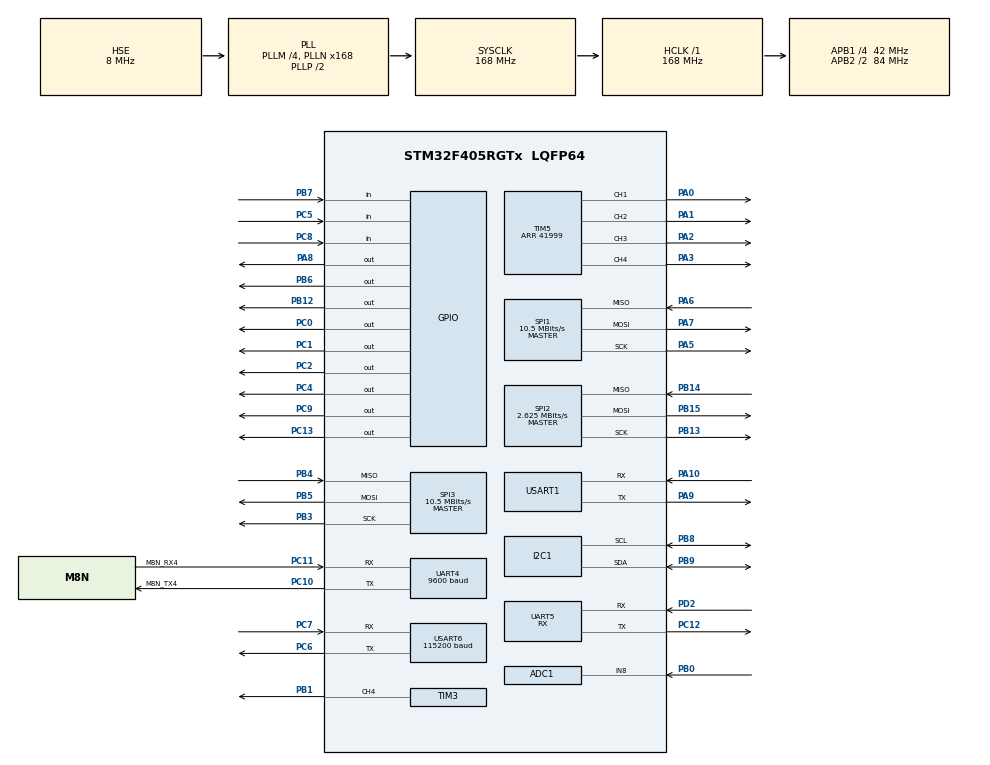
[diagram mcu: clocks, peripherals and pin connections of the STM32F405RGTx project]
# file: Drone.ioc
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ADC1.Channel-0\#ChannelRegularConversion=ADC_CHANNEL_8
ADC1.ClockPrescaler=ADC_CLOCK_SYNC_PCLK_DIV8
ADC1.ContinuousConvMode=ENABLE
ADC1.DMAContinuousRequests=ENABLE
ADC1.NbrOfConversionFlag=1
ADC1.Rank-0\#ChannelRegularConversion=1
ADC1.SamplingTime-0\#ChannelRegularConversion=ADC_SAMPLETIME_480CYCLES
ADC1.master=1
Dma.ADC1.0.Direction=DMA_PERIPH_TO_MEMORY
Dma.ADC1.0.FIFOMode=DMA_FIFOMODE_DISABLE
Dma.ADC1.0.Instance=DMA2_Stream0
Dma.ADC1.0.MemDataAlignment=DMA_MDATAALIGN_HALFWORD
Dma.ADC1.0.MemInc=DMA_MINC_DISABLE
Dma.ADC1.0.Mode=DMA_CIRCULAR
Dma.ADC1.0.PeriphDataAlignment=DMA_PDATAALIGN_HALFWORD
Dma.ADC1.0.PeriphInc=DMA_PINC_DISABLE
Dma.ADC1.0.Priority=DMA_PRIORITY_LOW
Dma.Request0=ADC1
I2C1.I2C_Mode=I2C_Fast
Mcu.Family=STM32F4
Mcu.Name=STM32F405RGTx
Mcu.Package=LQFP64
NVIC.DMA2_Stream0_IRQn=true\:0\:0\:false\:false\:true\:false\:true\:true
NVIC.PriorityGroup=NVIC_PRIORITYGROUP_4
NVIC.TIM7_IRQn=true\:0\:0\:false\:false\:true\:true\:true\:true
NVIC.UART4_IRQn=true\:0\:0\:false\:false\:true\:true\:true\:true
NVIC.UART5_IRQn=true\:0\:0\:false\:false\:true\:true\:true\:true
NVIC.USART1_IRQn=true\:0\:0\:false\:false\:true\:true\:true\:true
NVIC.USART6_IRQn=true\:0\:0\:false\:false\:true\:true\:true\:true
PA0-WKUP.Signal=S_TIM5_CH1
PA1.Signal=S_TIM5_CH2
PA10.Mode=Asynchronous
PA10.Signal=USART1_RX
PA2.Signal=S_TIM5_CH3
PA3.Signal=S_TIM5_CH4
PA5.Mode=Full_Duplex_Master
PA5.Signal=SPI1_SCK
PA6.Mode=Full_Duplex_Master
PA6.Signal=SPI1_MISO
PA7.Mode=Full_Duplex_Master
PA7.Signal=SPI1_MOSI
PA8.Signal=GPIO_Output
PA9.Mode=Asynchronous
PA9.Signal=USART1_TX
PB0.Signal=ADCx_IN8
PB1.Signal=S_TIM3_CH4
PB12.Signal=GPIO_Output
PB13.Mode=Full_Duplex_Master
PB13.Signal=SPI2_SCK
PB14.Mode=Full_Duplex_Master
PB14.Signal=SPI2_MISO
PB15.Mode=Full_Duplex_Master
PB15.Signal=SPI2_MOSI
PB3.Mode=Full_Duplex_Master
PB3.Signal=SPI3_SCK
PB4.Mode=Full_Duplex_Master
PB4.Signal=SPI3_MISO
PB5.Mode=Full_Duplex_Master
PB5.Signal=SPI3_MOSI
PB6.Signal=GPIO_Output
PB7.Signal=GPIO_Input
PB8.GPIO_Pu=GPIO_PULLUP
PB8.Mode=I2C
PB8.Signal=I2C1_SCL
PB9.GPIO_Pu=GPIO_PULLUP
PB9.Mode=I2C
PB9.Signal=I2C1_SDA
PC0.Signal=GPIO_Output
PC1.Signal=GPIO_Output
PC10.GPIO_Label=M8N_TX4
PC10.Mode=Asynchronous
PC10.Signal=UART4_TX
PC11.GPIO_Label=M8N_RX4
PC11.Mode=Asynchronous
PC11.Signal=UART4_RX
PC12.Mode=Asynchronous
PC12.Signal=UART5_TX
PC13-ANTI_TAMP.PinState=GPIO_PIN_SET
PC13-ANTI_TAMP.Signal=GPIO_Output
PC2.Signal=GPIO_Output
PC4.Signal=GPIO_Output
PC5.Signal=GPIO_Input
PC6.Mode=Asynchronous
PC6.Signal=USART6_TX
PC7.Mode=Asynchronous
PC7.Signal=USART6_RX
PC8.Signal=GPIO_Input
PC9.Signal=GPIO_Output
PD2.Mode=Asynchronous
PD2.Signal=UART5_RX
PH0-OSC_IN.Mode=HSE-External-Oscillator
PH0-OSC_IN.Signal=RCC_OSC_IN
PH1-OSC_OUT.Mode=HSE-External-Oscillator
PH1-OSC_OUT.Signal=RCC_OSC_OUT
ProjectManager.HeapSize=0x800
ProjectManager.StackSize=0x800
ProjectManager.TargetToolchain=STM32CubeIDE
RCC.48MHZClocksFreq_Value=84000000
RCC.AHBFreq_Value=168000000
RCC.APB1CLKDivider=RCC_HCLK_DIV4
RCC.APB1Freq_Value=42000000
RCC.APB1TimFreq_Value=84000000
RCC.APB2CLKDivider=RCC_HCLK_DIV2
RCC.APB2Freq_Value=84000000
RCC.APB2TimFreq_Value=168000000
RCC.CortexFreq_Value=168000000
RCC.HCLKFreq_Value=168000000
RCC.HSE_VALUE=8000000
RCC.HSI_VALUE=16000000
RCC.LSE_VALUE=32768
RCC.PLLM=4
RCC.PLLN=168
RCC.PLLSourceVirtual=RCC_PLLSOURCE_HSE
RCC.SYSCLKFreq_VALUE=168000000
RCC.SYSCLKSource=RCC_SYSCLKSOURCE_PLLCLK
RCC.VCOOutputFreq_Value=336000000
SH.ADCx_IN8.0=ADC1_IN8,IN8
SH.S_TIM3_CH4.0=TIM3_CH4,PWM Generation4 CH4
SH.S_TIM5_CH1.0=TIM5_CH1,PWM Generation1 CH1
SH.S_TIM5_CH2.0=TIM5_CH2,PWM Generation2 CH2
SH.S_TIM5_CH3.0=TIM5_CH3,PWM Generation3 CH3
SH.S_TIM5_CH4.0=TIM5_CH4,PWM Generation4 CH4
SPI1.BaudRatePrescaler=SPI_BAUDRATEPRESCALER_8
SPI1.CLKPhase=SPI_PHASE_2EDGE
SPI1.CLKPolarity=SPI_POLARITY_HIGH
SPI1.CalculateBaudRate=10.5 MBits/s
SPI1.Direction=SPI_DIRECTION_2LINES
SPI1.Mode=SPI_MODE_MASTER
SPI1.VirtualType=VM_MASTER
SPI2.BaudRatePrescaler=SPI_BAUDRATEPRESCALER_16
SPI2.CLKPhase=SPI_PHASE_2EDGE
SPI2.CLKPolarity=SPI_POLARITY_HIGH
SPI2.CalculateBaudRate=2.625 MBits/s
SPI2.Direction=SPI_DIRECTION_2LINES
SPI2.Mode=SPI_MODE_MASTER
SPI2.VirtualType=VM_MASTER
SPI3.BaudRatePrescaler=SPI_BAUDRATEPRESCALER_4
SPI3.CLKPhase=SPI_PHASE_2EDGE
SPI3.CLKPolarity=SPI_POLARITY_HIGH
SPI3.CalculateBaudRate=10.5 MBits/s
SPI3.Direction=SPI_DIRECTION_2LINES
SPI3.Mode=SPI_MODE_MASTER
SPI3.VirtualType=VM_MASTER
STMicroelectronics.X-CUBE-AI.10.2.0.ActivationBufferSizeList=2180
STMicroelectronics.X-CUBE-AI.10.2.0.ActivationBuffers=pool0
STMicroelectronics.X-CUBE-AI.10.2.0.ActivationNames=pool0
STMicroelectronics.X-CUBE-AI.10.2.0.ActivationSizes=AI_NETWORK_DATA_ACTIVATION_1_SIZE
STMicroelectronics.X-CUBE-AI.10.2.0.HeapSize=0x800
STMicroelectronics.X-CUBE-AI.10.2.0.InternalRamActivationBufferMaxSize=AI_NETWORK_DATA_ACTIVATIONS_SIZE
STMicroelectronics.X-CUBE-AI.10.2.0.LatestDirectoryUsed-7eb09439f97e806a12ad233b3ee658d2ae9b99b684ab08fe04baa4cf231a8537=C\:\\Users\\taejeong\\Desktop\\tfl
STMicroelectronics.X-CUBE-AI.10.2.0.MaximumNumberOfInputLayer=1
STMicroelectronics.X-CUBE-AI.10.2.0.MaximumNumberOfOutputLayer=1
STMicroelectronics.X-CUBE-AI.10.2.0.MaximumSizeOfInputLayer=1
STMicroelectronics.X-CUBE-AI.10.2.0.MaximumSizeOfOutputLayer=1
STMicroelectronics.X-CUBE-AI.10.2.0.ModelActualCompression-7eb09439f97e806a12ad233b3ee658d2ae9b99b684ab08fe04baa4cf231a8537=0.0
STMicroelectronics.X-CUBE-AI.10.2.0.ModelCompression-7eb09439f97e806a12ad233b3ee658d2ae9b99b684ab08fe04baa4cf231a8537=None
STMicroelectronics.X-CUBE-AI.10.2.0.ModelFlashOccupation-7eb09439f97e806a12ad233b3ee658d2ae9b99b684ab08fe04baa4cf231a8537=13520
STMicroelectronics.X-CUBE-AI.10.2.0.ModelHashList=7eb09439f97e806a12ad233b3ee658d2ae9b99b684ab08fe04baa4cf231a8537
STMicroelectronics.X-CUBE-AI.10.2.0.ModelKind-7eb09439f97e806a12ad233b3ee658d2ae9b99b684ab08fe04baa4cf231a8537=TFLITE
STMicroelectronics.X-CUBE-AI.10.2.0.ModelMacc-7eb09439f97e806a12ad233b3ee658d2ae9b99b684ab08fe04baa4cf231a8537=800
STMicroelectronics.X-CUBE-AI.10.2.0.ModelName-7eb09439f97e806a12ad233b3ee658d2ae9b99b684ab08fe04baa4cf231a8537=network
STMicroelectronics.X-CUBE-AI.10.2.0.ModelNameList=network
STMicroelectronics.X-CUBE-AI.10.2.0.ModelRamOccupation-7eb09439f97e806a12ad233b3ee658d2ae9b99b684ab08fe04baa4cf231a8537=2180
STMicroelectronics.X-CUBE-AI.10.2.0.ModelStructureFile-7eb09439f97e806a12ad233b3ee658d2ae9b99b684ab08fe04baa4cf231a8537=C\:\\Users\\taejeong\\Desktop\\tfl\\drone_gesture_model.tflite
STMicroelectronics.X-CUBE-AI.10.2.0.ModelType-7eb09439f97e806a12ad233b3ee658d2ae9b99b684ab08fe04baa4cf231a8537=STM32Cube.AI MCU runtime
STMicroelectronics.X-CUBE-AI.10.2.0.ReadyForCodeGeneration=true
STMicroelectronics.X-CUBE-AI.10.2.0.StackSize=0x800
STMicroelectronics.X-CUBE-AI.10.2.0.WorkingBufferStartAddrList=0xFFFFFFFF
STMicroelectronics.X-CUBE-AI.10.2.0.XAaCUBEAaAICcArtificialOoIntelligenceJjCore=true
STMicroelectronics.X-CUBE-AI.10.2.0.copyWeightToRam=false
STMicroelectronics.X-CUBE-AI.10.2.0.customLayerConfigEnabled=false
STMicroelectronics.X-CUBE-AI.10.2.0.noOnnxIoTranspose=false
STMicroelectronics.X-CUBE-AI.10.2.0.useInputAllocation=true
STMicroelectronics.X-CUBE-AI.10.2.0.useOutputAllocation=true
TIM3.AutoReloadPreload=TIM_AUTORELOAD_PRELOAD_ENABLE
TIM3.Channel-PWM\ Generation4\ CH4=TIM_CHANNEL_4
TIM3.OCFastMode_PWM-PWM\ Generation4\ CH4=TIM_OCFAST_ENABLE
TIM3.Period=20
TIM3.Prescaler=999
TIM3.Pulse-PWM\ Generation4\ CH4=10
TIM5.AutoReloadPreload=TIM_AUTORELOAD_PRELOAD_ENABLE
TIM5.Channel-PWM\ Generation1\ CH1=TIM_CHANNEL_1
TIM5.Channel-PWM\ Generation2\ CH2=TIM_CHANNEL_2
TIM5.Channel-PWM\ Generation3\ CH3=TIM_CHANNEL_3
TIM5.Channel-PWM\ Generation4\ CH4=TIM_CHANNEL_4
TIM5.OCFastMode_PWM-PWM\ Generation1\ CH1=TIM_OCFAST_ENABLE
TIM5.OCFastMode_PWM-PWM\ Generation2\ CH2=TIM_OCFAST_ENABLE
TIM5.OCFastMode_PWM-PWM\ Generation3\ CH3=TIM_OCFAST_ENABLE
TIM5.OCFastMode_PWM-PWM\ Generation4\ CH4=TIM_OCFAST_ENABLE
TIM5.Period=41999
TIM5.Pulse-PWM\ Generation1\ CH1=0
TIM5.Pulse-PWM\ Generation2\ CH2=0
TIM5.Pulse-PWM\ Generation3\ CH3=0
TIM7.AutoReloadPreload=TIM_AUTORELOAD_PRELOAD_ENABLE
TIM7.Period=1
TIM7.Prescaler=41999
UART4.BaudRate=9600
UART4.VirtualMode=Asynchronous
UART5.Mode=MODE_RX
UART5.VirtualMode=Asynchronous
USART1.VirtualMode=VM_ASYNC
USART6.BaudRate=115200
USART6.VirtualMode=VM_ASYNC
VP_STMicroelectronics.X-CUBE-AI_VS_ArtificialOoIntelligenceJjXAaCUBEAaAI_10.2.0.Mode=ArtificialOoIntelligenceJjXAaCUBEAaAI
VP_TIM3_VS_ClockSourceINT.Mode=Internal
VP_TIM5_VS_ClockSourceINT.Mode=Internal
VP_TIM7_VS_ClockSourceINT.Mode=Enable_Timer
board=custom

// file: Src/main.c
/* USER CODE BEGIN Header */
/**
  ******************************************************************************
  * @file           : main.c
  * @brief          : Main program body
  ******************************************************************************
  * @attention
  *
  * <h2><center>&copy; Copyright (c) 2019 STMicroelectronics.
  * All rights reserved.</center></h2>
  *
  * This software component is licensed by ST under BSD 3-Clause license,
  * the "License"; You may not use this file except in compliance with the
  * License. You may obtain a copy of the License at:
  *                        opensource.org/licenses/BSD-3-Clause
  *
  ******************************************************************************
  */
/* USER CODE END Header */
#include "main.h"
#include "adc.h"
#include "dma.h"
#include "i2c.h"
#include "spi.h"
#include "tim.h"
#include "usart.h"
#include "gpio.h"

/* USER CODE BEGIN Includes */
#include "bno080.h"
#include "quaternion.h"
#include "icm20602.h"
#include "lps22hh.h"
#include "M8N.h"
#include "FS-iA6B.h"
#include "AT24C08.h"
#include <string.h>
/* USER CODE END Includes */

/* USER CODE BEGIN PTD */
int _write(int file, char* p, int len)
{
	for(int i=0;i<len;i++)
	{
		while(!LL_USART_IsActiveFlag_TXE(USART6));
		LL_USART_TransmitData8(USART6, *(p+i));
	}
	return len;
}
/* USER CODE END PTD */

/* USER CODE BEGIN PV */
extern uint8_t uart6_rx_flag;
extern uint8_t uart6_rx_data;

extern uint8_t m8n_rx_buf[36];
extern uint8_t m8n_rx_cplt_flag;

extern uint8_t ibus_rx_buf[32];
extern uint8_t ibus_rx_cplt_flag;

extern uint8_t uart1_rx_data;

extern uint8_t tim7_20ms_flag;
extern uint8_t tim7_100ms_flag;
extern uint8_t tim7_1000ms_flag;

uint8_t telemetry_tx_buf[40];
uint8_t telemetry_rx_buf[20];
uint8_t telemetry_rx_cplt_flag;
float batVolt;

float roll_in_kp;
float roll_in_ki;
float roll_in_kd;

float roll_out_kp;
float roll_out_ki;
float roll_out_kd;

float pitch_in_kp;
float pitch_in_ki;
float pitch_in_kd;

float pitch_out_kp;
float pitch_out_ki;
float pitch_out_kd;

float yaw_heading_kp;
float yaw_heading_ki;
float yaw_heading_kd;

float yaw_rate_kp;
float yaw_rate_ki;
float yaw_rate_kd;

unsigned char failsafe_flag = 0;
unsigned char low_bat_flag = 0;
// 추론 결과 클래스 인덱스
#define GESTURE_CIRCLE  0
#define GESTURE_GOBACK  1
#define GESTURE_STOP    2

float ai_probabilities[3]; // AI가 판단한 각 동작별 확률 저장

//자쥴주행 변수
ai_handle network = AI_HANDLE_NULL;
ai_u8 activations[AI_NETWORK_DATA_ACTIVATIONS_SIZE];
ai_buffer *ai_input;
ai_buffer *ai_output;

enum {
    MODE_MANUAL = 0,
    MODE_AUTO_TAKEOFF,
    MODE_AUTO_WAYPOINT
} drone_auto_mode = MODE_MANUAL;

float target_alt = 0.0f;

/* USER CODE END PV */

void SystemClock_Config(void);
/* USER CODE BEGIN PFP */
int Is_iBus_Throttle_Min(void);
void ESC_Calibration(void);
int Is_iBus_Received(void);
void BNO080_Calibration(void);
void Encode_Msg_AHRS(unsigned char* telemetry_tx_buf);
void Encode_Msg_GPS(unsigned char* telemetry_tx_buf);
void Encode_Msg_PID_Gain(unsigned char* telemetry_tx_buf, unsigned char id, float p, float i, float d);
/* USER CODE END PFP */

int main(void)
{

  /* USER CODE BEGIN 1 */
	float q[4];
	float quatRadianAccuracy;
	unsigned char buf_read[16] = {1};
	unsigned char buf_write[16] = {1, 2, 3, 4, 5, 6, 7, 8, 9, 10, 11, 12, 13, 14, 15, 16};
	unsigned short adcVal;

	short gyro_x_offset = 1, gyro_y_offset = -23, gyro_z_offset = -3;
	unsigned char motor_arming_flag = 0;
	unsigned short iBus_SwA_Prev = 0;
	unsigned char iBus_rx_cnt = 0;
  /* USER CODE END 1 */

  /* MCU Configuration--------------------------------------------------------*/

  /* Reset of all peripherals, Initializes the Flash interface and the Systick. */
  HAL_Init();

  /* Configure the system clock */
  SystemClock_Config();

  /* Initialize all configured peripherals */
  MX_GPIO_Init();
  MX_DMA_Init();
  MX_TIM3_Init();
  MX_USART6_UART_Init();
  MX_SPI2_Init();
  MX_SPI1_Init();
  MX_SPI3_Init();
  MX_UART4_Init();
  MX_UART5_Init();
  MX_TIM5_Init();
  MX_I2C1_Init();
  MX_ADC1_Init();
  MX_USART1_UART_Init();
  MX_TIM7_Init();
  /* USER CODE BEGIN 2 */
  LL_TIM_EnableCounter(TIM3); //Buzzer

  LL_USART_EnableIT_RXNE(USART6); //Debug UART
  LL_USART_EnableIT_RXNE(UART4); //GPS
  LL_USART_EnableIT_RXNE(UART5); //FS-iA6B

  LL_TIM_EnableCounter(TIM5); //Motor PWM
  LL_TIM_CC_EnableChannel(TIM5, LL_TIM_CHANNEL_CH1);
  LL_TIM_CC_EnableChannel(TIM5, LL_TIM_CHANNEL_CH2);
  LL_TIM_CC_EnableChannel(TIM5, LL_TIM_CHANNEL_CH3);
  LL_TIM_CC_EnableChannel(TIM5, LL_TIM_CHANNEL_CH4);

  HAL_ADC_Start_DMA(&hadc1, &adcVal, 1); //Battery ADC

  HAL_UART_Receive_IT(&huart1, &uart1_rx_data, 1); //Telemetry

  LL_TIM_EnableCounter(TIM7); //10Hz, 50Hz, 1kHz loop
  LL_TIM_EnableIT_UPDATE(TIM7);

  TIM3->PSC = 1000;
  LL_TIM_CC_EnableChannel(TIM3, LL_TIM_CHANNEL_CH4);
  HAL_Delay(60);
  LL_TIM_CC_DisableChannel(TIM3, LL_TIM_CHANNEL_CH4);
  HAL_Delay(60);
  LL_TIM_CC_EnableChannel(TIM3, LL_TIM_CHANNEL_CH4);
  HAL_Delay(60);
  LL_TIM_CC_DisableChannel(TIM3, LL_TIM_CHANNEL_CH4);
  HAL_Delay(60);
  printf("Checking sensor connection..\n");

  if(BNO080_Initialization() != 0)
  {
	  LL_TIM_CC_EnableChannel(TIM3, LL_TIM_CHANNEL_CH4);

	  TIM3->PSC = 1000;
	  HAL_Delay(100);
	  TIM3->PSC = 1500;
	  HAL_Delay(100);
	  TIM3->PSC = 2000;
	  HAL_Delay(100);

	  LL_TIM_CC_DisableChannel(TIM3, LL_TIM_CHANNEL_CH4);

	  printf("\nBNO080 failed. Program shutting down...\n");
	  while(1)
	  {
		  LL_TIM_CC_DisableChannel(TIM3, LL_TIM_CHANNEL_CH4);
		  LL_GPIO_TogglePin(GPIOC, LL_GPIO_PIN_0);
		  HAL_Delay(200);
		  LL_TIM_CC_EnableChannel(TIM3, LL_TIM_CHANNEL_CH4);
		  LL_GPIO_TogglePin(GPIOC, LL_GPIO_PIN_0);
		  HAL_Delay(200);
	  }
  }
  BNO080_enableRotationVector(2500);

  if(ICM20602_Initialization() != 0)
  {
	  LL_TIM_CC_EnableChannel(TIM3, LL_TIM_CHANNEL_CH4);

	  TIM3->PSC = 1000;
	  HAL_Delay(100);
	  TIM3->PSC = 1500;
	  HAL_Delay(100);
	  TIM3->PSC = 2000;
	  HAL_Delay(100);

	  LL_TIM_CC_DisableChannel(TIM3, LL_TIM_CHANNEL_CH4);

	  printf("\nICM-20602 failed. Program shutting down...\n");
	  while(1)
	  {
		  LL_TIM_CC_DisableChannel(TIM3, LL_TIM_CHANNEL_CH4);
		  LL_GPIO_TogglePin(GPIOC, LL_GPIO_PIN_1);
		  HAL_Delay(200);
		  LL_TIM_CC_EnableChannel(TIM3, LL_TIM_CHANNEL_CH4);
		  LL_GPIO_TogglePin(GPIOC, LL_GPIO_PIN_1);
		  HAL_Delay(200);
	  }
  }

  if(LPS22HH_Initialization() != 0)
  {
	  LL_TIM_CC_EnableChannel(TIM3, LL_TIM_CHANNEL_CH4);

	  TIM3->PSC = 1000;
	  HAL_Delay(100);
	  TIM3->PSC = 1500;
	  HAL_Delay(100);
	  TIM3->PSC = 2000;
	  HAL_Delay(100);

	  LL_TIM_CC_DisableChannel(TIM3, LL_TIM_CHANNEL_CH4);

	  printf("\nLPS22HH failed. Program shutting down...\n");
	  while(1)
	  {
		  LL_TIM_CC_DisableChannel(TIM3, LL_TIM_CHANNEL_CH4);
		  LL_GPIO_TogglePin(GPIOC, LL_GPIO_PIN_2);
		  HAL_Delay(200);
		  LL_TIM_CC_EnableChannel(TIM3, LL_TIM_CHANNEL_CH4);
		  LL_GPIO_TogglePin(GPIOC, LL_GPIO_PIN_2);
		  HAL_Delay(200);
	  }
  }

  printf("All sensors OK!\n\n");

  M8N_Initialization();

  ICM20602_Writebyte(0x13, (gyro_x_offset*-2)>>8);
  ICM20602_Writebyte(0x14, (gyro_x_offset*-2));

  ICM20602_Writebyte(0x15, (gyro_y_offset*-2)>>8);
  ICM20602_Writebyte(0x16, (gyro_y_offset*-2));

  ICM20602_Writebyte(0x17, (gyro_z_offset*-2)>>8);
  ICM20602_Writebyte(0x18, (gyro_z_offset*-2));

  printf("Loading PID Gain...\n");

  if(EP_PIDGain_Read(0, &roll_in_kp, &roll_in_ki, &roll_in_kd) != 0 ||
		  EP_PIDGain_Read(1, &roll_out_kp, &roll_out_ki, &roll_out_kd) != 0 ||
		  EP_PIDGain_Read(2, &pitch_in_kp, &pitch_in_ki, &pitch_in_kd) != 0 ||
		  EP_PIDGain_Read(3, &pitch_out_kp, &pitch_out_ki, &pitch_out_kd) != 0 ||
		  EP_PIDGain_Read(4, &yaw_heading_kp, &yaw_heading_ki, &yaw_heading_kd) != 0 ||
		  EP_PIDGain_Read(5, &yaw_rate_kp, &yaw_rate_ki, &yaw_rate_kd) != 0)
  {
	  LL_TIM_CC_EnableChannel(TIM3, LL_TIM_CHANNEL_CH4);

	  TIM3->PSC = 1000;
	  HAL_Delay(100);
	  TIM3->PSC = 1500;
	  HAL_Delay(100);
	  TIM3->PSC = 2000;
	  HAL_Delay(100);

	  LL_TIM_CC_DisableChannel(TIM3, LL_TIM_CHANNEL_CH4);

	  HAL_Delay(500);
	  printf("\nCouldn't load PID gain.\n");
  }
  else
  {
	  Encode_Msg_PID_Gain(&telemetry_tx_buf[0], 0, roll_in_kp, roll_in_ki, roll_in_kd);
	  HAL_UART_Transmit(&huart1, &telemetry_tx_buf[0], 20, 10);
	  Encode_Msg_PID_Gain(&telemetry_tx_buf[0], 1, roll_out_kp, roll_out_ki, roll_out_kd);
	  HAL_UART_Transmit(&huart1, &telemetry_tx_buf[0], 20, 10);
	  Encode_Msg_PID_Gain(&telemetry_tx_buf[0], 2, pitch_in_kp, pitch_in_ki, pitch_in_kd);
	  HAL_UART_Transmit(&huart1, &telemetry_tx_buf[0], 20, 10);
	  Encode_Msg_PID_Gain(&telemetry_tx_buf[0], 3, pitch_out_kp, pitch_out_ki, pitch_out_kd);
	  HAL_UART_Transmit(&huart1, &telemetry_tx_buf[0], 20, 10);
	  Encode_Msg_PID_Gain(&telemetry_tx_buf[0], 4, yaw_heading_kp, yaw_heading_ki, yaw_heading_kd);
	  HAL_UART_Transmit(&huart1, &telemetry_tx_buf[0], 20, 10);
	  Encode_Msg_PID_Gain(&telemetry_tx_buf[0], 5, yaw_rate_kp, yaw_rate_ki, yaw_rate_kd);
	  HAL_UART_Transmit(&huart1, &telemetry_tx_buf[0], 20, 10);
	  printf("\nAll gains OK!\n\n");
  }

  while(Is_iBus_Received() == 0)
  {
	  LL_TIM_CC_EnableChannel(TIM3, LL_TIM_CHANNEL_CH4);

	  TIM3->PSC = 3000;
	  HAL_Delay(200);
	  LL_TIM_CC_DisableChannel(TIM3, LL_TIM_CHANNEL_CH4);
	  HAL_Delay(200);
  }

  if(iBus.SwC == 2000)
  {
	  LL_TIM_CC_EnableChannel(TIM3, LL_TIM_CHANNEL_CH4);

	  TIM3->PSC = 1500;
	  HAL_Delay(200);
	  TIM3->PSC = 2000;
	  HAL_Delay(200);
	  TIM3->PSC = 1500;
	  HAL_Delay(200);
	  TIM3->PSC = 2000;
	  HAL_Delay(200);
	  LL_TIM_CC_DisableChannel(TIM3, LL_TIM_CHANNEL_CH4);

	  ESC_Calibration();
	  while(iBus.SwC != 1000)
	  {
		  Is_iBus_Received();
		  LL_TIM_CC_EnableChannel(TIM3, LL_TIM_CHANNEL_CH4);

		  TIM3->PSC = 1500;
		  HAL_Delay(200);
		  TIM3->PSC = 2000;
		  HAL_Delay(200);
		  LL_TIM_CC_DisableChannel(TIM3, LL_TIM_CHANNEL_CH4);
	  }
  }
  else if(iBus.SwC == 1500)
  {
	  LL_TIM_CC_EnableChannel(TIM3, LL_TIM_CHANNEL_CH4);

	  TIM3->PSC = 1500;
	  HAL_Delay(200);
	  TIM3->PSC = 2000;
	  HAL_Delay(200);
	  TIM3->PSC = 1500;
	  HAL_Delay(200);
	  TIM3->PSC = 2000;
	  HAL_Delay(200);
	  LL_TIM_CC_DisableChannel(TIM3, LL_TIM_CHANNEL_CH4);

	  BNO080_Calibration();
	  while(iBus.SwC != 1000)
	  {
		  Is_iBus_Received();
		  LL_TIM_CC_EnableChannel(TIM3, LL_TIM_CHANNEL_CH4);

		  TIM3->PSC = 1500;
		  HAL_Delay(200);
		  TIM3->PSC = 2000;
		  HAL_Delay(200);
		  LL_TIM_CC_DisableChannel(TIM3, LL_TIM_CHANNEL_CH4);
	  }
  }
//
//
  while(Is_iBus_Throttle_Min() == 0 || iBus.SwA == 2000)
  {
	  LL_TIM_CC_EnableChannel(TIM3, LL_TIM_CHANNEL_CH4);

	  TIM3->PSC = 1000;
	  HAL_Delay(70);
	  LL_TIM_CC_DisableChannel(TIM3, LL_TIM_CHANNEL_CH4);
	  HAL_Delay(70);
  }

  LL_TIM_CC_EnableChannel(TIM3, LL_TIM_CHANNEL_CH4);

  TIM3->PSC = 2000;
  HAL_Delay(100);
  TIM3->PSC = 1500;
  HAL_Delay(100);
  TIM3->PSC = 1000;
  HAL_Delay(100);

  LL_TIM_CC_DisableChannel(TIM3, LL_TIM_CHANNEL_CH4);

  // AI 네트워크 생성
  ai_network_create(&drone_ai_network, AI_NETWORK_DATA_CONFIG);

  // 초기화 파라미터 설정
  struct ai_network_params ai_params = {
      AI_NETWORK_DATA_WEIGHTS(ai_network_data_weights_get()),
      AI_NETWORK_DATA_ACTIVATIONS(ai_activations)
  };

  // AI 네트워크 초기화
  ai_network_init(drone_ai_network, &ai_params);

  // 입출력 버퍼 포인터 획득
  ai_input = ai_network_inputs_get(drone_ai_network, 0);
  ai_output = ai_network_outputs_get(drone_ai_network, 0);

  printf("Start\n");

  /* USER CODE END 2 */

  /* Infinite loop */
  while (1)
  {

    /* USER CODE BEGIN 3 */

	  /* USER CODE BEGIN 3 */
	        if(motor_arming_flag == 1)
	        {
	            float final_throttle = 10500 + 500 + (iBus.LV - 1000) * 10;

	            // --- [기능 1] 5m 자동 이륙 및 호버링 로직 ---
	            if(drone_auto_mode == MODE_AUTO_TAKEOFF)
	            {
	                // 현재 고도(LPS22HH.baroAltFilt)와 목표 고도(5m) 차이 계산
	                float alt_error = target_alt - LPS22HH.baroAltFilt;

	                // 단순 P제어 예시 (실제로는 고도 유지 전용 PID 함수를 만드시는 게 좋습니다)
	                float alt_correction = alt_error * 200.0f;

	                final_throttle = 15000 + alt_correction; // 호버링 추력 부근에서 보정

	                // 스틱을 위로 끝까지 올리면 자동 모드 해제
	                if(iBus.LV > 1800) drone_auto_mode = MODE_MANUAL;
	            }

	            // --- [기능 2] 자율 웨이포인트 비행 로직 ---
	            else if(drone_auto_mode == MODE_AUTO_WAYPOINT)
	            {
	                // GPS(posllh) 좌표와 목표 웨이포인트 좌표 비교
	                // 여기서는 GPS 데이터를 기반으로 한 Pitch/Roll 보정치가 들어가야 합니다.
	                // 예: Navigation_Control(&posllh, &target_waypoint);

	                // 안전을 위해 고도는 현재 유지
	                final_throttle = 15000;

	                // 스위치 조작 시 자율 비행 종료
	                if(iBus.SwA != 2000) drone_auto_mode = MODE_MANUAL;
	            }

	            // 최종 모터 출력 적용
	            if(failsafe_flag == 0)
	            {
	                TIM5->CCR1 = final_throttle;
	                TIM5->CCR2 = final_throttle;
	                TIM5->CCR3 = final_throttle;
	                TIM5->CCR4 = final_throttle;
	            }
	        }

	  if(iBus.SwA == 2000 && iBus_SwA_Prev != 2000)
	  {
		  if(iBus.LV < 1010)
		  {
			  motor_arming_flag = 1;
		  }
		  else
		  {
			  while(Is_iBus_Throttle_Min() == 0 || iBus.SwA == 2000)
			  {
				  LL_TIM_CC_EnableChannel(TIM3, LL_TIM_CHANNEL_CH4);

				  TIM3->PSC = 1000;
				  HAL_Delay(70);
				  LL_TIM_CC_DisableChannel(TIM3, LL_TIM_CHANNEL_CH4);
				  HAL_Delay(70);
			  }
		  }
	  }
	  iBus_SwA_Prev = iBus.SwA;

	  if(iBus.SwA != 2000)
	  {
		  motor_arming_flag = 0;
	  }

	  if(motor_arming_flag == 1)
	  {
		  if(failsafe_flag == 0)
		  {
			  TIM5->CCR1 = 10500 + 500 + (iBus.LV - 1000) * 10;
			  TIM5->CCR2 = 10500 + 500 + (iBus.LV - 1000) * 10;
			  TIM5->CCR3 = 10500 + 500 + (iBus.LV - 1000) * 10;
			  TIM5->CCR4 = 10500 + 500 + (iBus.LV - 1000) * 10;
		  }
		  else
		  {
			  TIM5->CCR1 = 10500;
			  TIM5->CCR2 = 10500;
			  TIM5->CCR3 = 10500;
			  TIM5->CCR4 = 10500;
		  }
	  }
	  else
	  {
		  TIM5->CCR1 = 10500;
		  TIM5->CCR2 = 10500;
		  TIM5->CCR3 = 10500;
		  TIM5->CCR4 = 10500;
	  }

	  if(telemetry_rx_cplt_flag == 1)
	  {
		  telemetry_rx_cplt_flag = 0;

		  if(iBus.SwA == 1000)
		  {
			  unsigned char chksum = 0xff;
			  for(int i=0;i<19;i++) chksum = chksum - telemetry_rx_buf[i];

			  if(chksum == telemetry_rx_buf[19])
			  {
				  LL_TIM_CC_EnableChannel(TIM3, LL_TIM_CHANNEL_CH4);

				  TIM3->PSC = 1000;
				  HAL_Delay(10);

				  LL_TIM_CC_DisableChannel(TIM3, LL_TIM_CHANNEL_CH4);

				  switch(telemetry_rx_buf[2])
				  {
				  case 0:
					  roll_in_kp = *(float*)&telemetry_rx_buf[3];
					  roll_in_ki = *(float*)&telemetry_rx_buf[7];
					  roll_in_kd = *(float*)&telemetry_rx_buf[11];
					  EP_PIDGain_Write(telemetry_rx_buf[2], roll_in_kp, roll_in_ki, roll_in_kd);
					  EP_PIDGain_Read(telemetry_rx_buf[2], &roll_in_kp, &roll_in_ki, &roll_in_kd);
					  Encode_Msg_PID_Gain(&telemetry_tx_buf[0], telemetry_rx_buf[2], roll_in_kp, roll_in_ki, roll_in_kd);
					  HAL_UART_Transmit_IT(&huart1, &telemetry_tx_buf[0], 20);
					  break;
				  case 1:
					  roll_out_kp = *(float*)&telemetry_rx_buf[3];
					  roll_out_ki = *(float*)&telemetry_rx_buf[7];
					  roll_out_kd = *(float*)&telemetry_rx_buf[11];
					  EP_PIDGain_Write(telemetry_rx_buf[2], roll_out_kp, roll_out_ki, roll_out_kd);
					  EP_PIDGain_Read(telemetry_rx_buf[2], &roll_out_kp, &roll_out_ki, &roll_out_kd);
					  Encode_Msg_PID_Gain(&telemetry_tx_buf[0], telemetry_rx_buf[2], roll_out_kp, roll_out_ki, roll_out_kd);
					  HAL_UART_Transmit_IT(&huart1, &telemetry_tx_buf[0], 20);
					  break;
				  case 2:
					  pitch_in_kp = *(float*)&telemetry_rx_buf[3];
					  pitch_in_ki = *(float*)&telemetry_rx_buf[7];
					  pitch_in_kd = *(float*)&telemetry_rx_buf[11];
					  EP_PIDGain_Write(telemetry_rx_buf[2], pitch_in_kp, pitch_in_ki, pitch_in_kd);
					  EP_PIDGain_Read(telemetry_rx_buf[2], &pitch_in_kp, &pitch_in_ki, &pitch_in_kd);
					  Encode_Msg_PID_Gain(&telemetry_tx_buf[0], telemetry_rx_buf[2], pitch_in_kp, pitch_in_ki, pitch_in_kd);
					  HAL_UART_Transmit_IT(&huart1, &telemetry_tx_buf[0], 20);
					  break;
				  case 3:
					  pitch_out_kp = *(float*)&telemetry_rx_buf[3];
					  pitch_out_ki = *(float*)&telemetry_rx_buf[7];
					  pitch_out_kd = *(float*)&telemetry_rx_buf[11];
					  EP_PIDGain_Write(telemetry_rx_buf[2], pitch_out_kp, pitch_out_ki, pitch_out_kd);
					  EP_PIDGain_Read(telemetry_rx_buf[2], &pitch_out_kp, &pitch_out_ki, &pitch_out_kd);
					  Encode_Msg_PID_Gain(&telemetry_tx_buf[0], telemetry_rx_buf[2], pitch_out_kp, pitch_out_ki, pitch_out_kd);
					  HAL_UART_Transmit_IT(&huart1, &telemetry_tx_buf[0], 20);
					  break;
				  case 4:
					  yaw_heading_kp = *(float*)&telemetry_rx_buf[3];
					  yaw_heading_ki = *(float*)&telemetry_rx_buf[7];
					  yaw_heading_kd = *(float*)&telemetry_rx_buf[11];
					  EP_PIDGain_Write(telemetry_rx_buf[2], yaw_heading_kp, yaw_heading_ki, yaw_heading_kd);
					  EP_PIDGain_Read(telemetry_rx_buf[2], &yaw_heading_kp, &yaw_heading_ki, &yaw_heading_kd);
					  Encode_Msg_PID_Gain(&telemetry_tx_buf[0], telemetry_rx_buf[2], yaw_heading_kp, yaw_heading_ki, yaw_heading_kd);
					  HAL_UART_Transmit_IT(&huart1, &telemetry_tx_buf[0], 20);
					  break;
				  case 5:
					  yaw_rate_kp = *(float*)&telemetry_rx_buf[3];
					  yaw_rate_ki = *(float*)&telemetry_rx_buf[7];
					  yaw_rate_kd = *(float*)&telemetry_rx_buf[11];
					  EP_PIDGain_Write(telemetry_rx_buf[2], yaw_rate_kp, yaw_rate_ki, yaw_rate_kd);
					  EP_PIDGain_Read(telemetry_rx_buf[2], &yaw_rate_kp, &yaw_rate_ki, &yaw_rate_kd);
					  Encode_Msg_PID_Gain(&telemetry_tx_buf[0], telemetry_rx_buf[2], yaw_rate_kp, yaw_rate_ki, yaw_rate_kd);
					  HAL_UART_Transmit_IT(&huart1, &telemetry_tx_buf[0], 20);
					  break;
				  case 0x10:
					  switch(telemetry_rx_buf[3])
					  {
					  case 0:
						  Encode_Msg_PID_Gain(&telemetry_tx_buf[0], telemetry_rx_buf[3], roll_in_kp, roll_in_ki, roll_in_kd);
						  HAL_UART_Transmit(&huart1, &telemetry_tx_buf[0], 20, 10);
						  break;
					  case 1:
						  Encode_Msg_PID_Gain(&telemetry_tx_buf[0], telemetry_rx_buf[3], roll_out_kp, roll_out_ki, roll_out_kd);
						  HAL_UART_Transmit(&huart1, &telemetry_tx_buf[0], 20, 10);
						  break;
					  case 2:
						  Encode_Msg_PID_Gain(&telemetry_tx_buf[0], telemetry_rx_buf[3], pitch_in_kp, pitch_in_ki, pitch_in_kd);
						  HAL_UART_Transmit(&huart1, &telemetry_tx_buf[0], 20, 10);
						  break;
					  case 3:
						  Encode_Msg_PID_Gain(&telemetry_tx_buf[0], telemetry_rx_buf[3], pitch_out_kp, pitch_out_ki, pitch_out_kd);
						  HAL_UART_Transmit(&huart1, &telemetry_tx_buf[0], 20, 10);
						  break;
					  case 4:
						  Encode_Msg_PID_Gain(&telemetry_tx_buf[0], telemetry_rx_buf[3], yaw_heading_kp, yaw_heading_ki, yaw_heading_kd);
						  HAL_UART_Transmit(&huart1, &telemetry_tx_buf[0], 20, 10);
						  break;
					  case 5:
						  Encode_Msg_PID_Gain(&telemetry_tx_buf[0], telemetry_rx_buf[3], yaw_rate_kp, yaw_rate_ki, yaw_rate_kd);
						  HAL_UART_Transmit(&huart1, &telemetry_tx_buf[0], 20, 10);
						  break;
					  case 6:
						  Encode_Msg_PID_Gain(&telemetry_tx_buf[0], 0, roll_in_kp, roll_in_ki, roll_in_kd);
						  HAL_UART_Transmit(&huart1, &telemetry_tx_buf[0], 20, 10);
						  Encode_Msg_PID_Gain(&telemetry_tx_buf[0], 1, roll_out_kp, roll_out_ki, roll_out_kd);
						  HAL_UART_Transmit(&huart1, &telemetry_tx_buf[0], 20, 10);
						  Encode_Msg_PID_Gain(&telemetry_tx_buf[0], 2, pitch_in_kp, pitch_in_ki, pitch_in_kd);
						  HAL_UART_Transmit(&huart1, &telemetry_tx_buf[0], 20, 10);
						  Encode_Msg_PID_Gain(&telemetry_tx_buf[0], 3, pitch_out_kp, pitch_out_ki, pitch_out_kd);
						  HAL_UART_Transmit(&huart1, &telemetry_tx_buf[0], 20, 10);
						  Encode_Msg_PID_Gain(&telemetry_tx_buf[0], 4, yaw_heading_kp, yaw_heading_ki, yaw_heading_kd);
						  HAL_UART_Transmit(&huart1, &telemetry_tx_buf[0], 20, 10);
						  Encode_Msg_PID_Gain(&telemetry_tx_buf[0], 5, yaw_rate_kp, yaw_rate_ki, yaw_rate_kd);
						  HAL_UART_Transmit(&huart1, &telemetry_tx_buf[0], 20, 10);
						  break;
					  }
					  break;

				  }
			  }
		  }
	  }

	  if(tim7_20ms_flag == 1 && tim7_100ms_flag != 1)
	  {
		  tim7_20ms_flag = 0;

		  Encode_Msg_AHRS(&telemetry_tx_buf[0]);

		  HAL_UART_Transmit_IT(&huart1, &telemetry_tx_buf[0], 20);
	  }

	  else if(tim7_20ms_flag == 1 && tim7_100ms_flag == 1)
	  {
		  tim7_20ms_flag = 0;
		  tim7_100ms_flag = 0;

		  Encode_Msg_AHRS(&telemetry_tx_buf[0]);
		  Encode_Msg_GPS(&telemetry_tx_buf[20]);

		  HAL_UART_Transmit_IT(&huart1, &telemetry_tx_buf[0], 40);
	  }

	  batVolt = adcVal * 0.003619f;
	  //printf("%d\t%.2f\n", adcVal, batVolt);
	  if(batVolt < 10.0f)
	  {
		  low_bat_flag = 1;
	  }
	  else
	  {
		  low_bat_flag = 0;
	  }

	  if(BNO080_dataAvailable() == 1)
	  {
		  LL_GPIO_TogglePin(GPIOC, LL_GPIO_PIN_0);

		  q[0] = BNO080_getQuatI();
		  q[1] = BNO080_getQuatJ();
		  q[2] = BNO080_getQuatK();
		  q[3] = BNO080_getQuatReal();
		  quatRadianAccuracy = BNO080_getQuatRadianAccuracy();

		  Quaternion_Update(&q[0]);

		  //printf("%.2f\t%.2f\n", BNO080_Roll, BNO080_Pitch);
		  //printf("%.2f\n", BNO080_Yaw);
	  }

	  if(ICM20602_DataReady() == 1)
	  {
		  LL_GPIO_TogglePin(GPIOC, LL_GPIO_PIN_1);

		  ICM20602_Get3AxisGyroRawData(&ICM20602.gyro_x_raw);

		  ICM20602.gyro_x = ICM20602.gyro_x_raw * 2000.f / 32768.f;
		  ICM20602.gyro_y = ICM20602.gyro_y_raw * 2000.f / 32768.f;
		  ICM20602.gyro_z = ICM20602.gyro_z_raw * 2000.f / 32768.f;

		  //printf("%d,%d,%d\n", ICM20602.gyro_x_raw, ICM20602.gyro_y_raw, ICM20602.gyro_z_raw);
		  //printf("%d,%d,%d\n", (int)(ICM20602.gyro_x*100), (int)(ICM20602.gyro_y*100), (int)(ICM20602.gyro_z*100));
	  }

	  /* AI 네트워크 초기화 및 실패 처리 */
	    if (ai_network_create(&drone_ai_network, AI_NETWORK_DATA_CONFIG) != AI_ERROR_NONE ||
	        ai_network_init(drone_ai_network, NULL) != AI_ERROR_NONE) // 파라미터가 NULL이어도 기본값으로 초기화됩니다.
	    {
	        // AI 초기화 실패 시 비프음 발생
	        LL_TIM_CC_EnableChannel(TIM3, LL_TIM_CHANNEL_CH4);
	        TIM3->PSC = 3000; // 낮은 음으로 경고
	        HAL_Delay(500);
	        LL_TIM_CC_DisableChannel(TIM3, LL_TIM_CHANNEL_CH4);

	        printf("\nAI Network init failed. Program shutting down...\n");

	        while(1)
	        {
	            // LED0(C0)와 비프음을 빠르게 교차하여 AI 에러임을 표시
	            LL_GPIO_TogglePin(GPIOC, LL_GPIO_PIN_0);
	            LL_TIM_CC_EnableChannel(TIM3, LL_TIM_CHANNEL_CH4);
	            HAL_Delay(100);

	            LL_GPIO_TogglePin(GPIOC, LL_GPIO_PIN_0);
	            LL_TIM_CC_DisableChannel(TIM3, LL_TIM_CHANNEL_CH4);
	            HAL_Delay(100);
	        }
	    }

	    // 성공 시 입출력 버퍼 포인터 획득
	    ai_input = ai_network_inputs_get(drone_ai_network, 0);
	    ai_output = ai_network_outputs_get(drone_ai_network, 0);

	  if(LPS22HH_DataReady() == 1)
	  {
		  LPS22HH_GetPressure(&LPS22HH.pressure_raw);
		  LPS22HH_GetTemperature(&LPS22HH.temperature_raw);

		  LPS22HH.baroAlt = getAltitude2(LPS22HH.pressure_raw/4096.f, LPS22HH.temperature_raw/100.f);

#define X 0.90f
		  LPS22HH.baroAltFilt = LPS22HH.baroAltFilt * X + LPS22HH.baroAlt * (1.0f - X);

		  //printf("%d,%d\n", (int)(LPS22HH.baroAlt*100), (int)(LPS22HH.baroAltFilt*100));
	  }

	  if(m8n_rx_cplt_flag == 1)
	  {
		  m8n_rx_cplt_flag = 0;

		  if(M8N_UBX_CHKSUM_Check(&m8n_rx_buf[0], 36) == 1)
		  {
			  LL_GPIO_TogglePin(GPIOC, LL_GPIO_PIN_2);
			  M8N_UBX_NAV_POSLLH_Parsing(&m8n_rx_buf[0], &posllh);

			  //printf("LAT: %ld\tLON: %ld\tHeight: %ld\n", posllh.lat, posllh.lon, posllh.height);
		  }
	  }

	  if(ibus_rx_cplt_flag == 1)
	  {
		  ibus_rx_cplt_flag = 0;
		  if(iBus_Check_CHKSUM(&ibus_rx_buf[0], 32) == 1)
		  {
			  LL_GPIO_TogglePin(GPIOC, LL_GPIO_PIN_2);

			  iBus_Parsing(&ibus_rx_buf[0], &iBus);
			  iBus_rx_cnt++;

			  if(iBus_isActiveFailsafe(&iBus) == 1)
			  {
				  failsafe_flag = 1;
			  }
			  else
			  {
				  failsafe_flag = 0;
			  }
//			  printf("%d\t%d\t%d\t%d\t%d\t%d\n",
//					  iBus.RH, iBus.RV, iBus.LV, iBus.LH, iBus.SwA, iBus.SwC);
//			  HAL_Delay(100);
		  }
	  }

	  if(tim7_1000ms_flag == 1)
	  {
		  tim7_1000ms_flag = 0;
		  if(iBus_rx_cnt == 0)
		  {
			  failsafe_flag = 2;
		  }
		  iBus_rx_cnt = 0;
	  }

	  if(failsafe_flag == 1 || failsafe_flag == 2 || low_bat_flag == 1 || iBus.SwC == 2000)
	  {
		  LL_TIM_CC_EnableChannel(TIM3, LL_TIM_CHANNEL_CH4);
	  }
	  else
	  {
		  LL_TIM_CC_DisableChannel(TIM3, LL_TIM_CHANNEL_CH4);
	  }

  }
  /* USER CODE END 3 */
}

void SystemClock_Config(void)
{
  RCC_OscInitTypeDef RCC_OscInitStruct = {0};
  RCC_ClkInitTypeDef RCC_ClkInitStruct = {0};

  /** Configure the main internal regulator output voltage
  */
  __HAL_RCC_PWR_CLK_ENABLE();
  __HAL_PWR_VOLTAGESCALING_CONFIG(PWR_REGULATOR_VOLTAGE_SCALE1);

  /** Initializes the RCC Oscillators according to the specified parameters
  * in the RCC_OscInitTypeDef structure.
  */
  RCC_OscInitStruct.OscillatorType = RCC_OSCILLATORTYPE_HSE;
  RCC_OscInitStruct.HSEState = RCC_HSE_ON;
  RCC_OscInitStruct.PLL.PLLState = RCC_PLL_ON;
  RCC_OscInitStruct.PLL.PLLSource = RCC_PLLSOURCE_HSE;
  RCC_OscInitStruct.PLL.PLLM = 4;
  RCC_OscInitStruct.PLL.PLLN = 168;
  RCC_OscInitStruct.PLL.PLLP = RCC_PLLP_DIV2;
  RCC_OscInitStruct.PLL.PLLQ = 4;
  if (HAL_RCC_OscConfig(&RCC_OscInitStruct) != HAL_OK)
  {
    Error_Handler();
  }

  /** Initializes the CPU, AHB and APB buses clocks
  */
  RCC_ClkInitStruct.ClockType = RCC_CLOCKTYPE_HCLK|RCC_CLOCKTYPE_SYSCLK
                              |RCC_CLOCKTYPE_PCLK1|RCC_CLOCKTYPE_PCLK2;
  RCC_ClkInitStruct.SYSCLKSource = RCC_SYSCLKSOURCE_PLLCLK;
  RCC_ClkInitStruct.AHBCLKDivider = RCC_SYSCLK_DIV1;
  RCC_ClkInitStruct.APB1CLKDivider = RCC_HCLK_DIV4;
  RCC_ClkInitStruct.APB2CLKDivider = RCC_HCLK_DIV2;

  if (HAL_RCC_ClockConfig(&RCC_ClkInitStruct, FLASH_LATENCY_5) != HAL_OK)
  {
    Error_Handler();
  }
}

/* USER CODE BEGIN 4 */
int Is_iBus_Throttle_Min(void)
{
	if(ibus_rx_cplt_flag == 1)
	{
		ibus_rx_cplt_flag = 0;
		if(iBus_Check_CHKSUM(&ibus_rx_buf[0], 32) == 1)
		{
			iBus_Parsing(&ibus_rx_buf[0], &iBus);
			if(iBus.LV < 1010) return 1;
		}
	}

	return 0;
}

void ESC_Calibration(void)
{
	  TIM5->CCR1 = 21000;
	  TIM5->CCR2 = 21000;
	  TIM5->CCR3 = 21000;
	  TIM5->CCR4 = 21000;
	  HAL_Delay(7000);
	  TIM5->CCR1 = 10500;
	  TIM5->CCR2 = 10500;
	  TIM5->CCR3 = 10500;
	  TIM5->CCR4 = 10500;
	  HAL_Delay(8000);
}

int Is_iBus_Received(void)
{
	if(ibus_rx_cplt_flag == 1)
	{
		ibus_rx_cplt_flag = 0;
		if(iBus_Check_CHKSUM(&ibus_rx_buf[0], 32) == 1)
		{
			iBus_Parsing(&ibus_rx_buf[0], &iBus);
			return 1;
		}
	}

	return 0;
}

void BNO080_Calibration(void)
{
	//Resets BNO080 to disable All output
	BNO080_Initialization();

	//BNO080/BNO085 Configuration
	//Enable dynamic calibration for accelerometer, gyroscope, and magnetometer
	//Enable Game Rotation Vector output
	//Enable Magnetic Field output
	BNO080_calibrateAll(); //Turn on cal for Accel, Gyro, and Mag
	BNO080_enableGameRotationVector(20000); //Send data update every 20ms (50Hz)
	BNO080_enableMagnetometer(20000); //Send data update every 20ms (50Hz)

	//Once magnetic field is 2 or 3, run the Save DCD Now command
  	printf("Calibrating BNO080. Pull up FS-i6 SWC to end calibration and save to flash\n");
  	printf("Output in form x, y, z, in uTesla\n\n");

	//while loop for calibration procedure
	//Iterates until iBus.SwC is mid point (1500)
	//Calibration procedure should be done while this loop is in iteration.
	while(iBus.SwC == 1500)
	{
		if(BNO080_dataAvailable() == 1)
		{
			//Observing the status bit of the magnetic field output
			float x = BNO080_getMagX();
			float y = BNO080_getMagY();
			float z = BNO080_getMagZ();
			unsigned char accuracy = BNO080_getMagAccuracy();

			float quatI = BNO080_getQuatI();
			float quatJ = BNO080_getQuatJ();
			float quatK = BNO080_getQuatK();
			float quatReal = BNO080_getQuatReal();
			unsigned char sensorAccuracy = BNO080_getQuatAccuracy();

			printf("%f,%f,%f,", x, y, z);
			if (accuracy == 0) printf("Unreliable\t");
			else if (accuracy == 1) printf("Low\t");
			else if (accuracy == 2) printf("Medium\t");
			else if (accuracy == 3) printf("High\t");

			printf("\t%f,%f,%f,%f,", quatI, quatI, quatI, quatReal);
			if (sensorAccuracy == 0) printf("Unreliable\n");
			else if (sensorAccuracy == 1) printf("Low\n");
			else if (sensorAccuracy == 2) printf("Medium\n");
			else if (sensorAccuracy == 3) printf("High\n");

			//Turn the LED and buzzer on when both accuracy and sensorAccuracy is high
			if(accuracy == 3 && sensorAccuracy == 3)
			{
				LL_GPIO_SetOutputPin(GPIOC, LL_GPIO_PIN_0 | LL_GPIO_PIN_1 | LL_GPIO_PIN_2);
				TIM3->PSC = 65000; //Very low frequency
				LL_TIM_CC_EnableChannel(TIM3, LL_TIM_CHANNEL_CH4);
			}
			else
			{
				LL_GPIO_ResetOutputPin(GPIOC, LL_GPIO_PIN_0 | LL_GPIO_PIN_1 | LL_GPIO_PIN_2);
				LL_TIM_CC_DisableChannel(TIM3, LL_TIM_CHANNEL_CH4);
			}
		}

		Is_iBus_Received(); //Refreshes iBus Data for iBus.SwC
		HAL_Delay(100);
	}

	//Ends the loop when iBus.SwC is not mid point
	//Turn the LED and buzzer off
	LL_GPIO_ResetOutputPin(GPIOC, LL_GPIO_PIN_0 | LL_GPIO_PIN_1 | LL_GPIO_PIN_2);
	LL_TIM_CC_DisableChannel(TIM3, LL_TIM_CHANNEL_CH4);

	//Saves the current dynamic calibration data (DCD) to memory
	//Sends command to get the latest calibration status
	BNO080_saveCalibration();
	BNO080_requestCalibrationStatus();

	//Wait for calibration response, timeout if no response
	int counter = 100;
	while(1)
	{
		if(--counter == 0) break;
		if(BNO080_dataAvailable())
		{
			//The IMU can report many different things. We must wait
			//for the ME Calibration Response Status byte to go to zero
			if(BNO080_calibrationComplete() == 1)
			{
				printf("\nCalibration data successfully stored\n");
				LL_TIM_CC_EnableChannel(TIM3, LL_TIM_CHANNEL_CH4);
				TIM3->PSC = 2000;
				HAL_Delay(300);
				TIM3->PSC = 1500;
				HAL_Delay(300);
				LL_TIM_CC_DisableChannel(TIM3, LL_TIM_CHANNEL_CH4);
				HAL_Delay(1000);
				break;
			}
		}
		HAL_Delay(10);
	}
	if(counter == 0)
	{
		printf("\nCalibration data failed to store. Please try again.\n");
		LL_TIM_CC_EnableChannel(TIM3, LL_TIM_CHANNEL_CH4);
		TIM3->PSC = 1500;
		HAL_Delay(300);
		TIM3->PSC = 2000;
		HAL_Delay(300);
		LL_TIM_CC_DisableChannel(TIM3, LL_TIM_CHANNEL_CH4);
		HAL_Delay(1000);
	}

	//BNO080_endCalibration(); //Turns off all calibration
	//In general, calibration should be left on at all times. The BNO080
	//auto-calibrates and auto-records cal data roughly every 5 minutes

	//Resets BNO080 to disable Game Rotation Vector and Magnetometer
	//Enables Rotation Vector
	BNO080_Initialization();
	BNO080_enableRotationVector(2500); //Send data update every 2.5ms (400Hz)
}

void HAL_UART_RxCpltCallback(UART_HandleTypeDef *huart)
{
	static unsigned char cnt = 0;

	if(huart->Instance == USART1)
	{
		HAL_UART_Receive_IT(&huart1, &uart1_rx_data, 1);

		switch(cnt)
		{
		case 0:
			if(uart1_rx_data == 0x47)
			{
				telemetry_rx_buf[cnt] = uart1_rx_data;
				cnt++;
			}
			break;
		case 1:
			if(uart1_rx_data == 0x53)
			{
				telemetry_rx_buf[cnt] = uart1_rx_data;
				cnt++;
			}
			else
				cnt = 0;
			break;
		case 19:
			telemetry_rx_buf[cnt] = uart1_rx_data;
			cnt = 0;
			telemetry_rx_cplt_flag = 1;
			break;
		default:
			telemetry_rx_buf[cnt] = uart1_rx_data;
			cnt++;
			break;
		}
	}
}

void Encode_Msg_AHRS(unsigned char* telemetry_tx_buf)
{
	  telemetry_tx_buf[0] = 0x46;
	  telemetry_tx_buf[1] = 0x43;

	  telemetry_tx_buf[2] = 0x10;

	  telemetry_tx_buf[3] = (short)(BNO080_Roll*100);
	  telemetry_tx_buf[4] = ((short)(BNO080_Roll*100))>>8;

	  telemetry_tx_buf[5] = (short)(BNO080_Pitch*100);
	  telemetry_tx_buf[6] = ((short)(BNO080_Pitch*100))>>8;

	  telemetry_tx_buf[7] = (unsigned short)(BNO080_Yaw*100);
	  telemetry_tx_buf[8] = ((unsigned short)(BNO080_Yaw*100))>>8;

	  telemetry_tx_buf[9] = (short)(LPS22HH.baroAltFilt*10);
	  telemetry_tx_buf[10] = ((short)(LPS22HH.baroAltFilt*10))>>8;

	  telemetry_tx_buf[11] = (short)((iBus.RH-1500)*0.1f*100);
	  telemetry_tx_buf[12] = ((short)((iBus.RH-1500)*0.1f*100))>>8;

	  telemetry_tx_buf[13] = (short)((iBus.RV-1500)*0.1f*100);
	  telemetry_tx_buf[14] = ((short)((iBus.RV-1500)*0.1f*100))>>8;

	  telemetry_tx_buf[15] = (unsigned short)((iBus.LH-1000)*0.36f*100);
	  telemetry_tx_buf[16] = ((unsigned short)((iBus.LH-1000)*0.36f*100))>>8;

	  telemetry_tx_buf[17] = (short)(iBus.LV*10);
	  telemetry_tx_buf[18] = ((short)(iBus.LV*10))>>8;

	  telemetry_tx_buf[19] = 0xff;

	  for(int i=0;i<19;i++) telemetry_tx_buf[19] = telemetry_tx_buf[19] - telemetry_tx_buf[i];
}

void Encode_Msg_GPS(unsigned char* telemetry_tx_buf)
{
	  telemetry_tx_buf[0] = 0x46;
	  telemetry_tx_buf[1] = 0x43;

	  telemetry_tx_buf[2] = 0x11;

	  telemetry_tx_buf[3] = posllh.lat;
	  telemetry_tx_buf[4] = posllh.lat>>8;
	  telemetry_tx_buf[5] = posllh.lat>>16;
	  telemetry_tx_buf[6] = posllh.lat>>24;

	  telemetry_tx_buf[7] = posllh.lon;
	  telemetry_tx_buf[8] = posllh.lon>>8;
	  telemetry_tx_buf[9] = posllh.lon>>16;
	  telemetry_tx_buf[10] = posllh.lon>>24;

	  telemetry_tx_buf[11] = (unsigned short)(batVolt*100);
	  telemetry_tx_buf[12] = ((unsigned short)(batVolt*100))>>8;

	  telemetry_tx_buf[13] = iBus.SwA == 1000 ? 0 : 1;
	  telemetry_tx_buf[14] = iBus.SwC == 1000 ? 0 : iBus.SwC == 1500 ? 1 : 2;

	  telemetry_tx_buf[15] = failsafe_flag;

	  telemetry_tx_buf[16] = 0x00;
	  telemetry_tx_buf[17] = 0x00;
	  telemetry_tx_buf[18] = 0x00;

	  telemetry_tx_buf[19] = 0xff;

	  for(int i=0;i<19;i++) telemetry_tx_buf[19] = telemetry_tx_buf[19] - telemetry_tx_buf[i];
}

void Encode_Msg_PID_Gain(unsigned char* telemetry_tx_buf, unsigned char id, float p, float i, float d)
{
	  telemetry_tx_buf[0] = 0x46;
	  telemetry_tx_buf[1] = 0x43;

	  telemetry_tx_buf[2] = id;

//	  memcpy(&telemetry_tx_buf[3], &p, 4);
//	  memcpy(&telemetry_tx_buf[7], &i, 4);
//	  memcpy(&telemetry_tx_buf[11], &d, 4);

	  *(float*)&telemetry_tx_buf[3] = p;
	  *(float*)&telemetry_tx_buf[7] = i;
	  *(float*)&telemetry_tx_buf[11] = d;

	  telemetry_tx_buf[15] = 0x00;
	  telemetry_tx_buf[16] = 0x00;
	  telemetry_tx_buf[17] = 0x00;
	  telemetry_tx_buf[18] = 0x00;

	  telemetry_tx_buf[19] = 0xff;

	  for(int i=0;i<19;i++) telemetry_tx_buf[19] = telemetry_tx_buf[19] - telemetry_tx_buf[i];
}
/* USER CODE END 4 */

void Error_Handler(void)
{
}
